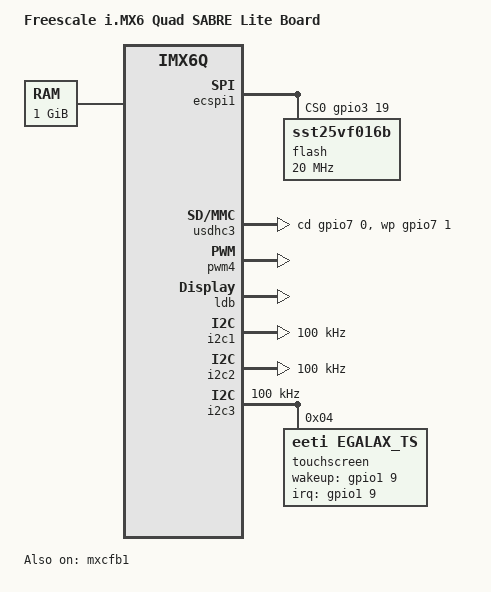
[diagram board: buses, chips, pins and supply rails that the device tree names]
/*
 * Copyright (C) 2014 Institut de Recherche Technologique SystemX and OpenWide.
 *
 * This program is free software; you can redistribute it and/or modify
 * it under the terms of the GNU General Public License as published by
 * the Free Software Foundation; either version 2, or (at your option)
 * any later version.
 *
 * This program is distributed in the hope that it will be useful,
 * but WITHOUT ANY WARRANTY; without even the implied warranty of
 * MERCHANTABILITY or FITNESS FOR A PARTICULAR PURPOSE.  See the
 * GNU General Public License for more details.
 *
 * You should have received a copy of the GNU General Public License
 * along with this program; if not, write to the Free Software
 * Foundation, Inc., 675 Mass Ave, Cambridge, MA 02139, USA.
 *
 * @file sabrelite.dtsi
 * @author Jimmy Durand Wesolowski (jimmy.durand-wesolowski@openwide.fr)
 * @brief Sabrelite-specific device tree definitions.
 */

#include "../imx6q.dtsi"

/ {
	#address-cells = <0x1>;
	#size-cells = <0x1>;
	model = "Freescale i.MX6 Quad SABRE Lite Board";
	compatible = "fsl,imx6q-sabrelite", "fsl,imx6q";

	memory {
		device_type = "memory";
		reg = <0x10000000 0x40000000>; /* 1 GB */
	};
};

&ecspi1 {
	#address-cells = <1>;
	#size-cells = <0>;

	fsl,spi-num-chipselects = <1>;
	cs-gpios = <&gpio3 19 0>;
	pinctrl-names = "default";
	pinctrl-0 = <&pinctrl_ecspi1_1>;
	status = "okay";

	/* This must be add to specify the SPI bus number, used by the flash
	   driver. */
	bus = <0>;

	flash: m25p80@0 {
		compatible = "sst25vf016b";
		spi-max-frequency = <20000000>;
		reg = <0>;
	};
};

&usdhc3 {
	pinctrl-names = "default";
	pinctrl-0 = <&pinctrl_usdhc3_2>;
	cd-gpios = <&gpio7 0 0>;
	wp-gpios = <&gpio7 1 0>;
	/* vmmc-supply = <&reg_3p3v>; */
	status = "okay";
};

&pwm4 {
	pinctrl-names = "default";
	pinctrl-0 = <&pinctrl_pwm4>;
	status = "okay";
};

&ldb {
	ipu_id = <0>;
	disp_id = <0>;
	ext_ref = <1>;
	mode = "sin0";
	sec_ipu_id = <1>;
	sec_disp_id = <1>;
	status = "okay";
};

&mxcfb1 {
	status = "okay";
	interface_pix_fmt = "RGB565";
	default_bpp = <16>;
	mode_str ="LDB-XGA";
};

&i2c1 {
	status = "okay";
	clock-frequency = <100000>;
	pinctrl-names = "default";
	pinctrl-0 = <&pinctrl_i2c1_1>;
};

&i2c2 {
	status = "okay";
	clock-frequency = <100000>;
	pinctrl-names = "default";
	pinctrl-0 = <&pinctrl_i2c2_2>;
};

&i2c3 {
	status = "okay";
	clock-frequency = <100000>;
	pinctrl-names = "default";
	pinctrl-0 = <&pinctrl_i2c3_3>;

	touchscreen: egalax_ts@4 {
		compatible = "eeti,egalax_ts";
		reg = <0x04>;
		interrupt-parent = <&gpio1>;
		interrupts = <9 2>;
		wakeup-gpios = <&gpio1 9 0>;
	};
};
